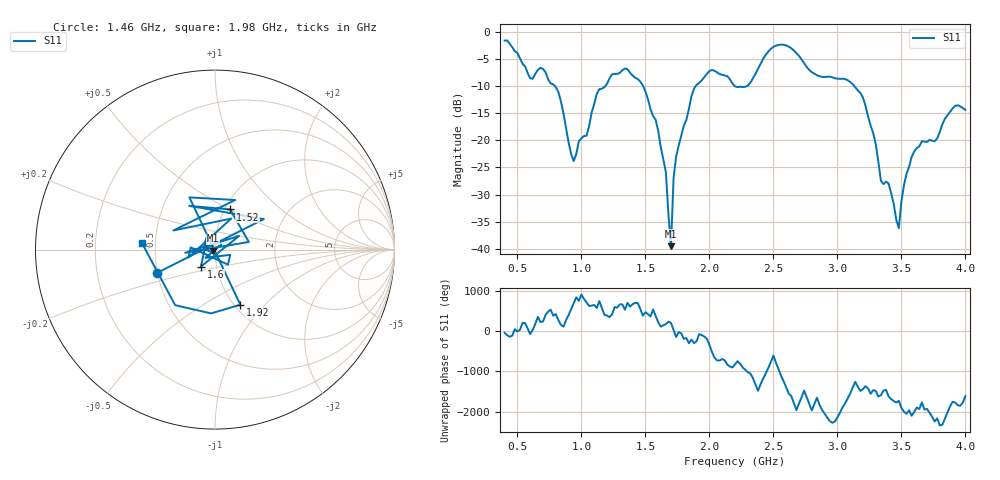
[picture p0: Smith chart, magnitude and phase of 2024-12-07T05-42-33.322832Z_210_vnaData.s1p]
!Created with skrf (http://scikit-rf.org).
# Hz S RI R 50.0
!freq ReS11 ImS11
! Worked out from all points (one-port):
!   181 points, 400 MHz to 4 GHz, reference 50 ohm
!   lowest |S11| = -39.5 dB at 1.7 GHz (marker M1), VSWR 1.02, Z = 49.1 - j0.538 ohm
!   |S11| at or under -10 dB: 792.2 MHz to 1.187 GHz (394.8 MHz wide, 39.9 % of centre); 1.482 GHz to 1.894 GHz (411.8 MHz wide, 24.4 % of centre); 3.132 GHz to end of sweep (the widest 3 of 4)
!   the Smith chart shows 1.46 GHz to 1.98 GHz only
!   S11 on the Smith chart (normalised r, x): 1.46 GHz: 0.50, -0.15; 1.52 GHz: 1.06, +0.50; 1.6 GHz: 0.84, -0.16; 1.92 GHz: 1.06, -0.74; 1.98 GHz: 0.42, +0.04
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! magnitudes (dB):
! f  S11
! 400 MHz  -1.6
! 600 MHz  -8.6
! 700 MHz  -6.9
! 860 MHz  -15.1
! 940 MHz  -23.8
! 1.12 GHz  -11.5
! 1.3 GHz  -7.6
! 1.46 GHz  -9.2
! 1.52 GHz  -12.4
! 1.6 GHz  -18.2
! 1.66 GHz  -25.9
! 1.7 GHz  -39.5
! 1.72 GHz  -26.9
! 1.76 GHz  -21.0
! 1.92 GHz  -9.4
! 1.98 GHz  -7.8
! 2.2 GHz  -10.1
! 2.5 GHz  -2.8
! 2.66 GHz  -3.5
! 3.1 GHz  -9.3
! 3.2 GHz  -12.2
! 3.3 GHz  -20.7
! 3.34 GHz  -27.5
! 3.4 GHz  -28.0
! 3.48 GHz  -36.2
! 3.56 GHz  -24.9
! 3.9 GHz  -14.1
! 4 GHz  -14.4
